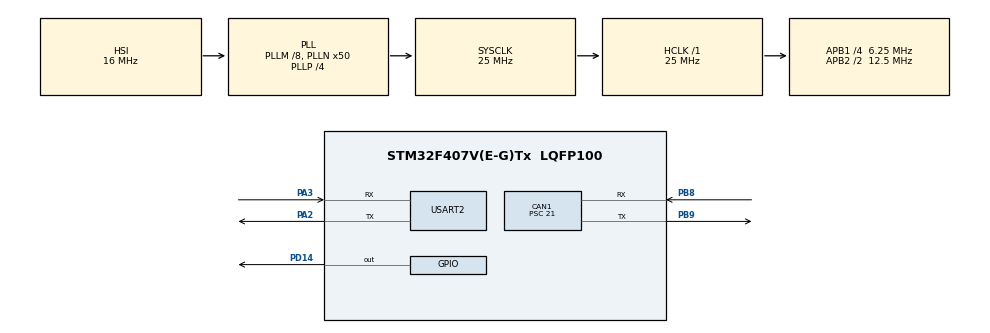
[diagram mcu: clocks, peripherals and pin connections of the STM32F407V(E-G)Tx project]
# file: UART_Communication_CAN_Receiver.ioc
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CAN1.BS1=CAN_BS1_2TQ
CAN1.CalculateBaudRate=74404
CAN1.CalculateTimeBit=13440
CAN1.CalculateTimeQuantum=3360.0
CAN1.Prescaler=21
Mcu.Family=STM32F4
Mcu.Name=STM32F407V(E-G)Tx
Mcu.Package=LQFP100
NVIC.CAN1_RX0_IRQn=true\:0\:0\:false\:false\:true\:true\:true\:true
NVIC.PriorityGroup=NVIC_PRIORITYGROUP_0
PA2.Mode=Asynchronous
PA2.Signal=USART2_TX
PA3.Mode=Asynchronous
PA3.Signal=USART2_RX
PB8.Mode=CAN_Activate
PB8.Signal=CAN1_RX
PB9.Mode=CAN_Activate
PB9.Signal=CAN1_TX
PD14.Signal=GPIO_Output
PH0-OSC_IN.Mode=HSE-External-Oscillator
PH0-OSC_IN.Signal=RCC_OSC_IN
PH1-OSC_OUT.Mode=HSE-External-Oscillator
PH1-OSC_OUT.Signal=RCC_OSC_OUT
ProjectManager.HeapSize=0x200
ProjectManager.StackSize=0x400
ProjectManager.TargetToolchain=STM32CubeIDE
RCC.48MHZClocksFreq_Value=14285714.285714285
RCC.AHBFreq_Value=25000000
RCC.APB1CLKDivider=RCC_HCLK_DIV4
RCC.APB1Freq_Value=6250000
RCC.APB1TimFreq_Value=12500000
RCC.APB2CLKDivider=RCC_HCLK_DIV2
RCC.APB2Freq_Value=12500000
RCC.APB2TimFreq_Value=25000000
RCC.CortexFreq_Value=25000000
RCC.HCLKFreq_Value=25000000
RCC.HSE_VALUE=8000000
RCC.HSI_VALUE=16000000
RCC.LSE_VALUE=32768
RCC.PLLM=8
RCC.PLLN=50
RCC.PLLP=RCC_PLLP_DIV4
RCC.PLLQ=7
RCC.SYSCLKFreq_VALUE=25000000
RCC.SYSCLKSource=RCC_SYSCLKSOURCE_PLLCLK
RCC.VCOOutputFreq_Value=100000000
USART2.VirtualMode=VM_ASYNC
board=STM32F407G-DISC1

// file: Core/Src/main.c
/* USER CODE BEGIN Header */
/**
  ******************************************************************************
  * @file           : main.c
  * @brief          : Main program body
  ******************************************************************************
  * @attention
  *
  * Copyright (c) 2025 STMicroelectronics.
  * All rights reserved.
  *
  * This software is licensed under terms that can be found in the LICENSE file
  * in the root directory of this software component.
  * If no LICENSE file comes with this software, it is provided AS-IS.
  *
  ******************************************************************************
  */
/* USER CODE END Header */
#include "main.h"
#include <stdio.h>
#include <string.h>

CAN_HandleTypeDef hcan1;

UART_HandleTypeDef huart2;

/* USER CODE BEGIN PV */
CAN_RxHeaderTypeDef RxHeader;
uint8_t RxData[8];
char uartMessage[50];
volatile int datacheck = 0;
/* USER CODE END PV */

void SystemClock_Config(void);
static void MX_GPIO_Init(void);
static void MX_CAN1_Init(void);
static void MX_USART2_UART_Init(void);

/* USER CODE BEGIN 0 */
void HAL_CAN_RxFifo0MsgPendingCallback(CAN_HandleTypeDef *hcan) {
    if (HAL_CAN_GetRxMessage(&hcan1, CAN_RX_FIFO0, &RxHeader, RxData) != HAL_OK) {
        Error_Handler();
    }

    if (RxHeader.DLC == 4) {
        datacheck = 1;
    }
}

void send_UART_message(uint16_t ppm, uint16_t adcValue) {
    snprintf(uartMessage, sizeof(uartMessage),
             "MQ-135 Data: PPM: %d, ADC: %d\r\n", ppm, adcValue);
    HAL_UART_Transmit(&huart2, (uint8_t *)uartMessage, strlen(uartMessage), HAL_MAX_DELAY);
}
/* USER CODE END 0 */

int main(void)
{

  /* MCU Configuration--------------------------------------------------------*/

  /* Reset of all peripherals, Initializes the Flash interface and the Systick. */
  HAL_Init();

  /* Configure the system clock */
  SystemClock_Config();

  /* Initialize all configured peripherals */
  MX_GPIO_Init();
  MX_CAN1_Init();
  MX_USART2_UART_Init();
  /* USER CODE BEGIN 2 */

  if (HAL_CAN_Start(&hcan1) != HAL_OK) {
          Error_Handler();
      }

  HAL_CAN_ActivateNotification(&hcan1, CAN_IT_RX_FIFO0_MSG_PENDING);
  /* USER CODE END 2 */

  /* Infinite loop */
  /* USER CODE BEGIN WHILE */
  while (1)
  {

	  if (datacheck) {
	              uint16_t ppm = (RxData[0] << 8) | RxData[1];  // Extract gas concentration (PPM)
	              uint16_t adcValue = (RxData[2] << 8) | RxData[3];  // Extract ADC value

	              send_UART_message(ppm, adcValue);  // Send to UART
	              datacheck = 0;
	          }
  	  }
    /* USER CODE END WHILE */

}

void SystemClock_Config(void)
{
  RCC_OscInitTypeDef RCC_OscInitStruct = {0};
  RCC_ClkInitTypeDef RCC_ClkInitStruct = {0};

  /** Configure the main internal regulator output voltage
  */
  __HAL_RCC_PWR_CLK_ENABLE();
  __HAL_PWR_VOLTAGESCALING_CONFIG(PWR_REGULATOR_VOLTAGE_SCALE1);

  /** Initializes the RCC Oscillators according to the specified parameters
  * in the RCC_OscInitTypeDef structure.
  */
  RCC_OscInitStruct.OscillatorType = RCC_OSCILLATORTYPE_HSI;
  RCC_OscInitStruct.HSIState = RCC_HSI_ON;
  RCC_OscInitStruct.HSICalibrationValue = RCC_HSICALIBRATION_DEFAULT;
  RCC_OscInitStruct.PLL.PLLState = RCC_PLL_ON;
  RCC_OscInitStruct.PLL.PLLSource = RCC_PLLSOURCE_HSI;
  RCC_OscInitStruct.PLL.PLLM = 8;
  RCC_OscInitStruct.PLL.PLLN = 50;
  RCC_OscInitStruct.PLL.PLLP = RCC_PLLP_DIV4;
  RCC_OscInitStruct.PLL.PLLQ = 7;
  if (HAL_RCC_OscConfig(&RCC_OscInitStruct) != HAL_OK)
  {
    Error_Handler();
  }

  /** Initializes the CPU, AHB and APB buses clocks
  */
  RCC_ClkInitStruct.ClockType = RCC_CLOCKTYPE_HCLK|RCC_CLOCKTYPE_SYSCLK
                              |RCC_CLOCKTYPE_PCLK1|RCC_CLOCKTYPE_PCLK2;
  RCC_ClkInitStruct.SYSCLKSource = RCC_SYSCLKSOURCE_PLLCLK;
  RCC_ClkInitStruct.AHBCLKDivider = RCC_SYSCLK_DIV1;
  RCC_ClkInitStruct.APB1CLKDivider = RCC_HCLK_DIV4;
  RCC_ClkInitStruct.APB2CLKDivider = RCC_HCLK_DIV2;

  if (HAL_RCC_ClockConfig(&RCC_ClkInitStruct, FLASH_LATENCY_0) != HAL_OK)
  {
    Error_Handler();
  }
}

static void MX_CAN1_Init(void)
{

  hcan1.Instance = CAN1;
  hcan1.Init.Prescaler = 21;
  hcan1.Init.Mode = CAN_MODE_NORMAL;
  hcan1.Init.SyncJumpWidth = CAN_SJW_1TQ;
  hcan1.Init.TimeSeg1 = CAN_BS1_2TQ;
  hcan1.Init.TimeSeg2 = CAN_BS2_1TQ;
  hcan1.Init.TimeTriggeredMode = DISABLE;
  hcan1.Init.AutoBusOff = DISABLE;
  hcan1.Init.AutoWakeUp = DISABLE;
  hcan1.Init.AutoRetransmission = DISABLE;
  hcan1.Init.ReceiveFifoLocked = DISABLE;
  hcan1.Init.TransmitFifoPriority = DISABLE;
  if (HAL_CAN_Init(&hcan1) != HAL_OK)
  {
    Error_Handler();
  }
  /* USER CODE BEGIN CAN1_Init 2 */
  CAN_FilterTypeDef canfilterconfig;
      canfilterconfig.FilterActivation = CAN_FILTER_ENABLE;
      canfilterconfig.FilterBank = 0;
      canfilterconfig.FilterFIFOAssignment = CAN_FILTER_FIFO0;
      canfilterconfig.FilterIdHigh = 0x123 << 5;
      canfilterconfig.FilterIdLow = 0;
      canfilterconfig.FilterMaskIdHigh = 0x103 << 5;
      canfilterconfig.FilterMaskIdLow = 0x0000;
      canfilterconfig.FilterMode = CAN_FILTERMODE_IDMASK;
      canfilterconfig.FilterScale = CAN_FILTERSCALE_32BIT;
      canfilterconfig.SlaveStartFilterBank = 14;

      if (HAL_CAN_ConfigFilter(&hcan1, &canfilterconfig) != HAL_OK) {
          Error_Handler();
      }
  }
  /* USER CODE END CAN1_Init 2 */

static void MX_USART2_UART_Init(void)
{

  huart2.Instance = USART2;
  huart2.Init.BaudRate = 115200;
  huart2.Init.WordLength = UART_WORDLENGTH_8B;
  huart2.Init.StopBits = UART_STOPBITS_1;
  huart2.Init.Parity = UART_PARITY_NONE;
  huart2.Init.Mode = UART_MODE_TX_RX;
  huart2.Init.HwFlowCtl = UART_HWCONTROL_NONE;
  huart2.Init.OverSampling = UART_OVERSAMPLING_16;
  if (HAL_UART_Init(&huart2) != HAL_OK)
  {
    Error_Handler();
  }

}

static void MX_GPIO_Init(void)
{
  GPIO_InitTypeDef GPIO_InitStruct = {0};

  /* GPIO Ports Clock Enable */
  __HAL_RCC_GPIOH_CLK_ENABLE();
  __HAL_RCC_GPIOA_CLK_ENABLE();
  __HAL_RCC_GPIOD_CLK_ENABLE();
  __HAL_RCC_GPIOB_CLK_ENABLE();

  /*Configure GPIO pin Output Level */
  HAL_GPIO_WritePin(GPIOD, GPIO_PIN_14, GPIO_PIN_RESET);

  /*Configure GPIO pin : PD14 */
  GPIO_InitStruct.Pin = GPIO_PIN_14;
  GPIO_InitStruct.Mode = GPIO_MODE_OUTPUT_PP;
  GPIO_InitStruct.Pull = GPIO_NOPULL;
  GPIO_InitStruct.Speed = GPIO_SPEED_FREQ_LOW;
  HAL_GPIO_Init(GPIOD, &GPIO_InitStruct);

}

void Error_Handler(void)
{
  __disable_irq();
  while (1)
  {
  }
}
